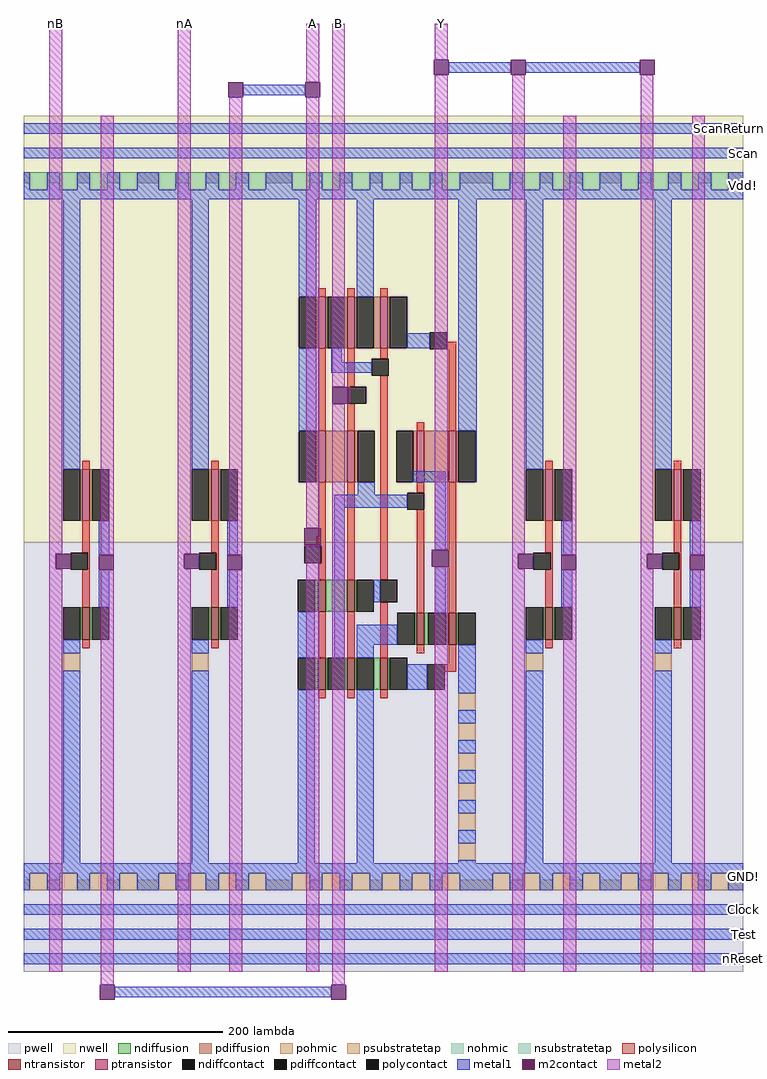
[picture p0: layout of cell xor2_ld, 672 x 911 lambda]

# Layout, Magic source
magic
tech c035u
<< nwell >>
rect 0 427 672 825
<< pwell >>
rect 0 26 672 427
<< polysilicon >>
rect 275 656 282 664
rect 302 656 309 664
rect 333 656 340 664
rect 275 531 282 608
rect 302 572 309 608
rect 333 598 340 608
rect 395 607 404 614
rect 302 556 304 572
rect 302 531 309 556
rect 55 495 62 503
rect 175 495 182 503
rect 55 417 62 447
rect 175 417 182 447
rect 275 432 282 483
rect 273 423 282 432
rect 60 401 62 417
rect 180 401 182 417
rect 278 407 282 423
rect 55 366 62 401
rect 175 366 182 401
rect 275 392 282 407
rect 302 392 309 483
rect 333 392 340 582
rect 367 531 374 539
rect 397 531 404 607
rect 487 495 494 503
rect 607 495 614 503
rect 367 473 374 483
rect 55 328 62 336
rect 175 328 182 336
rect 275 319 282 362
rect 302 319 309 362
rect 333 319 340 371
rect 367 361 374 457
rect 397 361 404 483
rect 487 417 494 447
rect 607 417 614 447
rect 492 401 494 417
rect 612 401 614 417
rect 487 366 494 401
rect 607 366 614 401
rect 367 323 374 331
rect 397 313 404 331
rect 487 328 494 336
rect 607 328 614 336
rect 393 306 404 313
rect 275 281 282 289
rect 302 281 309 289
rect 333 281 340 289
<< ndiffusion >>
rect 53 336 55 366
rect 62 336 64 366
rect 173 336 175 366
rect 182 336 184 366
rect 272 362 275 392
rect 282 362 302 392
rect 309 362 311 392
rect 365 331 367 361
rect 374 331 378 361
rect 394 331 397 361
rect 404 331 406 361
rect 485 336 487 366
rect 494 336 496 366
rect 605 336 607 366
rect 614 336 616 366
rect 272 289 275 319
rect 282 289 284 319
rect 300 289 302 319
rect 309 289 311 319
rect 327 289 333 319
rect 340 289 342 319
<< pdiffusion >>
rect 273 608 275 656
rect 282 608 284 656
rect 300 608 302 656
rect 309 608 311 656
rect 327 608 333 656
rect 340 608 342 656
rect 53 447 55 495
rect 62 447 64 495
rect 173 447 175 495
rect 182 447 184 495
rect 273 483 275 531
rect 282 483 302 531
rect 309 483 312 531
rect 364 483 367 531
rect 374 483 397 531
rect 404 483 406 531
rect 485 447 487 495
rect 494 447 496 495
rect 605 447 607 495
rect 614 447 616 495
<< pohmic >>
rect 0 102 6 112
rect 22 102 34 112
rect 50 102 62 112
rect 78 102 90 112
rect 106 102 126 112
rect 142 102 154 112
rect 170 102 182 112
rect 198 102 210 112
rect 226 102 251 112
rect 267 102 279 112
rect 295 102 307 112
rect 323 102 335 112
rect 351 102 363 112
rect 379 102 391 112
rect 407 102 438 112
rect 454 102 466 112
rect 482 102 494 112
rect 510 102 522 112
rect 538 102 558 112
rect 574 102 586 112
rect 602 102 614 112
rect 630 102 642 112
rect 658 102 672 112
<< nohmic >>
rect 0 762 6 772
rect 22 762 34 772
rect 50 762 62 772
rect 78 762 90 772
rect 106 762 126 772
rect 142 762 154 772
rect 170 762 182 772
rect 198 762 210 772
rect 226 762 251 772
rect 267 762 279 772
rect 295 762 307 772
rect 323 762 335 772
rect 351 762 363 772
rect 379 762 391 772
rect 407 762 438 772
rect 454 762 466 772
rect 482 762 494 772
rect 510 762 522 772
rect 538 762 558 772
rect 574 762 586 772
rect 602 762 614 772
rect 630 762 642 772
rect 658 762 672 772
<< ntransistor >>
rect 55 336 62 366
rect 175 336 182 366
rect 275 362 282 392
rect 302 362 309 392
rect 367 331 374 361
rect 397 331 404 361
rect 487 336 494 366
rect 607 336 614 366
rect 275 289 282 319
rect 302 289 309 319
rect 333 289 340 319
<< ptransistor >>
rect 275 608 282 656
rect 302 608 309 656
rect 333 608 340 656
rect 55 447 62 495
rect 175 447 182 495
rect 275 483 282 531
rect 302 483 309 531
rect 367 483 374 531
rect 397 483 404 531
rect 487 447 494 495
rect 607 447 614 495
<< polycontact >>
rect 379 607 395 623
rect 325 582 341 598
rect 304 556 320 572
rect 44 401 60 417
rect 164 401 180 417
rect 262 407 278 423
rect 358 457 374 473
rect 333 371 349 392
rect 476 401 492 417
rect 596 401 612 417
rect 377 289 393 313
<< ndiffcontact >>
rect 37 336 53 366
rect 64 336 80 366
rect 157 336 173 366
rect 184 336 200 366
rect 256 362 272 392
rect 311 362 327 392
rect 349 331 365 361
rect 378 331 394 361
rect 406 331 422 361
rect 469 336 485 366
rect 496 336 512 366
rect 589 336 605 366
rect 616 336 632 366
rect 256 289 272 319
rect 284 289 300 319
rect 311 289 327 319
rect 342 289 358 319
<< pdiffcontact >>
rect 257 608 273 656
rect 284 608 300 656
rect 311 608 327 656
rect 342 608 358 656
rect 37 447 53 495
rect 64 447 80 495
rect 157 447 173 495
rect 184 447 200 495
rect 257 483 273 531
rect 312 483 328 531
rect 348 483 364 531
rect 406 483 422 531
rect 469 447 485 495
rect 496 447 512 495
rect 589 447 605 495
rect 616 447 632 495
<< psubstratetap >>
rect 37 307 53 323
rect 157 307 173 323
rect 469 307 485 323
rect 589 307 605 323
rect 406 270 422 286
rect 406 242 422 258
rect 406 214 422 230
rect 406 186 422 202
rect 406 158 422 174
rect 406 130 422 146
rect 6 102 22 118
rect 34 102 50 118
rect 62 102 78 118
rect 90 102 106 118
rect 126 102 142 118
rect 154 102 170 118
rect 182 102 198 118
rect 210 102 226 118
rect 251 102 267 118
rect 279 102 295 118
rect 307 102 323 118
rect 335 102 351 118
rect 363 102 379 118
rect 391 102 407 118
rect 438 102 454 118
rect 466 102 482 118
rect 494 102 510 118
rect 522 102 538 118
rect 558 102 574 118
rect 586 102 602 118
rect 614 102 630 118
rect 642 102 658 118
<< nsubstratetap >>
rect 6 756 22 772
rect 34 756 50 772
rect 62 756 78 772
rect 90 756 106 772
rect 126 756 142 772
rect 154 756 170 772
rect 182 756 198 772
rect 210 756 226 772
rect 251 756 267 772
rect 279 756 295 772
rect 307 756 323 772
rect 335 756 351 772
rect 363 756 379 772
rect 391 756 407 772
rect 438 756 454 772
rect 466 756 482 772
rect 494 756 510 772
rect 522 756 538 772
rect 558 756 574 772
rect 586 756 602 772
rect 614 756 630 772
rect 642 756 658 772
<< metal1 >>
rect 397 865 455 875
rect 469 865 575 875
rect 205 844 263 854
rect 0 808 672 818
rect 0 785 672 795
rect 0 756 6 772
rect 22 756 34 772
rect 50 756 62 772
rect 78 756 90 772
rect 106 756 126 772
rect 142 756 154 772
rect 170 756 182 772
rect 198 756 210 772
rect 226 756 251 772
rect 267 756 279 772
rect 295 756 307 772
rect 323 756 335 772
rect 351 756 363 772
rect 379 756 391 772
rect 407 756 438 772
rect 454 756 466 772
rect 482 756 494 772
rect 510 756 522 772
rect 538 756 558 772
rect 574 756 586 772
rect 602 756 614 772
rect 630 756 642 772
rect 658 756 672 772
rect 0 747 672 756
rect 37 495 53 747
rect 157 495 173 747
rect 257 656 273 747
rect 311 656 327 747
rect 358 608 379 622
rect 257 531 273 608
rect 287 595 297 608
rect 287 585 325 595
rect 406 531 423 747
rect 364 483 394 493
rect 422 483 423 531
rect 469 495 485 747
rect 589 495 605 747
rect 312 471 328 483
rect 70 415 80 447
rect 190 415 200 447
rect 290 459 358 471
rect 262 423 278 424
rect 70 366 80 401
rect 190 366 200 401
rect 37 323 53 336
rect 37 127 53 307
rect 157 323 173 336
rect 157 127 173 307
rect 256 319 272 362
rect 290 319 300 459
rect 384 420 394 483
rect 327 371 333 392
rect 384 361 394 404
rect 502 415 512 447
rect 622 415 632 447
rect 502 366 512 401
rect 622 366 632 401
rect 311 331 349 350
rect 311 319 327 331
rect 358 289 377 313
rect 256 127 272 289
rect 311 127 327 289
rect 406 286 422 331
rect 406 258 422 270
rect 406 230 422 242
rect 406 202 422 214
rect 406 174 422 186
rect 406 146 422 158
rect 406 127 422 130
rect 469 323 485 336
rect 469 127 485 307
rect 589 323 605 336
rect 589 127 605 307
rect 0 118 672 127
rect 0 102 6 118
rect 22 102 34 118
rect 50 102 62 118
rect 78 102 90 118
rect 106 102 126 118
rect 142 102 154 118
rect 170 102 182 118
rect 198 102 210 118
rect 226 102 251 118
rect 267 102 279 118
rect 295 102 307 118
rect 323 102 335 118
rect 351 102 363 118
rect 379 102 391 118
rect 407 102 438 118
rect 454 102 466 118
rect 482 102 494 118
rect 510 102 522 118
rect 538 102 558 118
rect 574 102 586 118
rect 602 102 614 118
rect 630 102 642 118
rect 658 102 672 118
rect 0 79 672 89
rect 0 56 672 66
rect 0 33 672 43
rect 85 2 287 12
<< m2contact >>
rect 383 863 397 877
rect 455 863 469 877
rect 575 863 589 877
rect 191 842 205 856
rect 263 842 277 856
rect 288 556 304 572
rect 30 402 44 416
rect 70 401 84 415
rect 150 402 164 416
rect 262 424 278 440
rect 190 401 204 415
rect 381 404 397 420
rect 462 402 476 416
rect 502 401 516 415
rect 582 402 596 416
rect 622 401 636 415
rect 71 0 85 14
rect 287 0 301 14
<< metal2 >>
rect 24 416 36 911
rect 24 402 30 416
rect 72 415 84 825
rect 24 26 36 402
rect 72 14 84 401
rect 144 416 156 911
rect 264 856 276 911
rect 144 402 150 416
rect 192 415 204 842
rect 264 440 276 842
rect 288 572 300 911
rect 384 877 396 911
rect 304 558 305 572
rect 262 423 276 424
rect 144 26 156 402
rect 192 26 204 401
rect 264 26 276 423
rect 288 14 300 556
rect 384 420 396 863
rect 456 416 468 863
rect 384 26 396 404
rect 456 402 462 416
rect 504 415 516 825
rect 456 26 468 402
rect 504 26 516 401
rect 576 416 588 863
rect 576 402 582 416
rect 624 415 636 825
rect 576 26 588 402
rect 624 26 636 401
<< labels >>
rlabel metal1 672 747 672 772 7 Vdd!
rlabel metal1 672 785 672 795 7 Scan
rlabel metal1 672 808 672 818 6 ScanReturn
rlabel metal1 672 33 672 43 8 nReset
rlabel metal1 672 56 672 66 7 Test
rlabel metal1 672 79 672 89 7 Clock
rlabel metal1 672 102 672 127 7 GND!
rlabel metal2 24 911 36 911 5 nB
rlabel metal2 144 911 156 911 5 nA
rlabel metal2 264 911 276 911 5 A
rlabel metal2 288 911 300 911 5 B
rlabel metal2 384 911 396 911 5 Y
<< end >>
